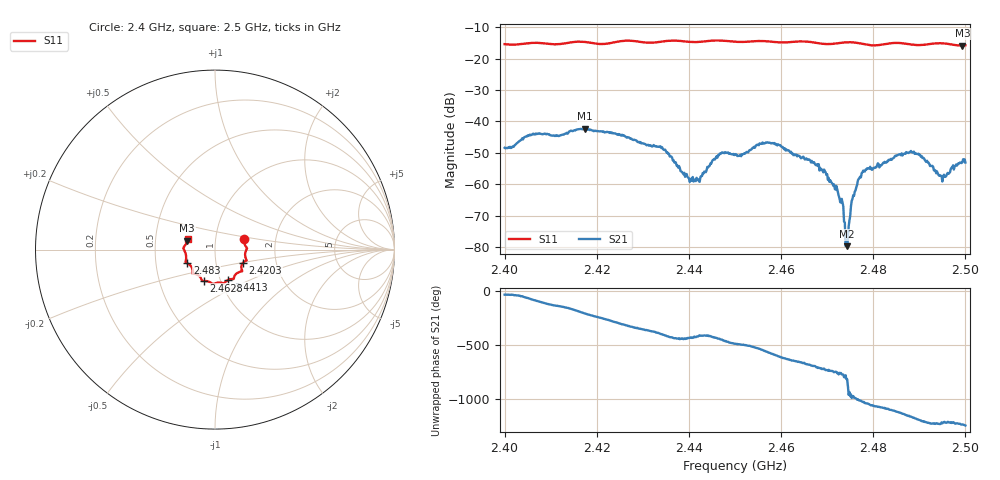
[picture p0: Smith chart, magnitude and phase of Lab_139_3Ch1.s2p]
# Hz S RI R 50
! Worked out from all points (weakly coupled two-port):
!   601 points, 2.4 GHz to 2.5 GHz, reference 50 ohm
!   highest |S21| = -42.32 dB at 2.4175 GHz (marker M1); lowest = -79.8 dB at 2.4743 GHz (marker M2)
!   lowest |S11| = -15.8 dB at 2.4993 GHz (marker M3), VSWR 1.39, Z = 36.5 + j3.71 ohm
!   |S11| at or under -10 dB: start of sweep to end of sweep
!   S12 and S22 are empty: the file has one direction only
!   S11 on the Smith chart (normalised r, x): 2.4 GHz: 1.37, +0.16; 2.4203 GHz: 1.35, -0.21; 2.4413 GHz: 1.09, -0.38; 2.4628 GHz: 0.83, -0.30; 2.483 GHz: 0.72, -0.11; 2.5 GHz: 0.73, +0.09
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2.4e9  0.1605 0.0571  0.00315 -0.00211  0 0  0 0
2.416667e9  0.176 -0.0612  -0.00721 0.00228  0 0  0 0
2.4175e9  0.1735 -0.0625  -0.00669 0.00373  0 0  0 0
2.420333e9  0.1553 -0.0739  -0.0032 0.00621  0 0  0 0
2.433333e9  0.108 -0.1483  0.00348 -0.00184  0 0  0 0
2.441333e9  0.0743 -0.1681  0.000467 -0.00109  0 0  0 0
2.446833e9  0.0478 -0.1885  6.88e-05 -0.00308  0 0  0 0
2.45e9  0.0293 -0.1838  -0.00181 -0.0023  0 0  0 0
2.457167e9  -0.0177 -0.1878  -0.00407 0.0022  0 0  0 0
2.462833e9  -0.0628 -0.175  0.000917 0.00284  0 0  0 0
2.466667e9  -0.0743 -0.1675  0.00207 0.0011  0 0  0 0
2.472e9  -0.1108 -0.1353  0.00081 -0.000475  0 0  0 0
2.473e9  -0.1179 -0.1344  0.000387 -0.000332  0 0  0 0
2.474333e9  -0.1238 -0.1341  -1.26e-05 -0.000102  0 0  0 0
2.475667e9  -0.1252 -0.1317  -0.000169 0.000646  0 0  0 0
2.477167e9  -0.1242 -0.1234  0.000553 0.0012  0 0  0 0
2.483e9  -0.1548 -0.0767  0.00222 -0.000587  0 0  0 0
2.483333e9  -0.1571 -0.0757  0.00236 -0.000649  0 0  0 0
2.488667e9  -0.1604 -0.045  -0.000374 -0.00323  0 0  0 0
2.495333e9  -0.1747 0.0124  -0.00102 -0.000987  0 0  0 0
2.499333e9  -0.1543 0.0496  -0.00207 -0.000829  0 0  0 0
2.5e9  -0.1526 0.0587  -0.00216 -0.000477  0 0  0 0
